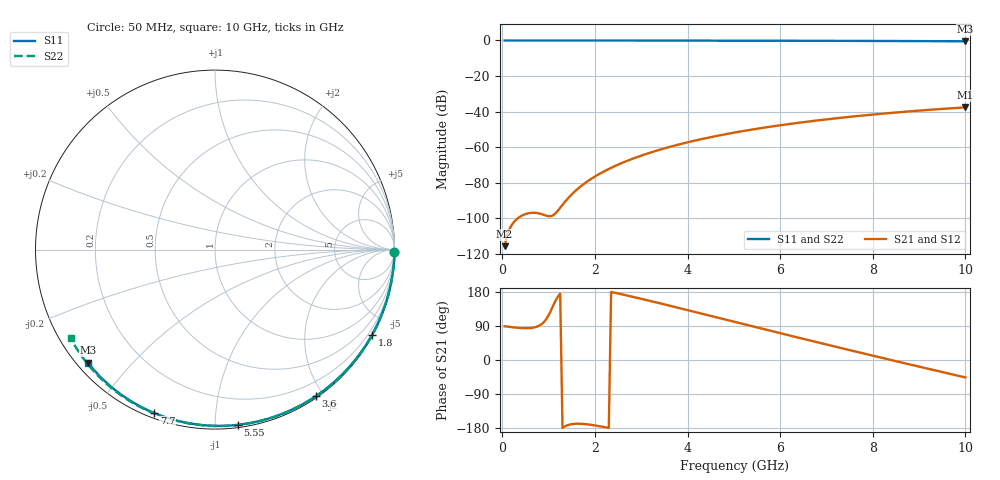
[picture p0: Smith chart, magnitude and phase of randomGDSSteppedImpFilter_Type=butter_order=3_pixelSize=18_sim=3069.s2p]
! freq	dB(S11)	phase(S11)	dB(S12)	phase(S12)
!  dB(S21)	phase(S21)	dB(S22)	phase(S22)
!S-par simulation data
#  GHz  S  DB  R 50
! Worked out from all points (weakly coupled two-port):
!   200 points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, 50 MHz to 10 GHz, reference 50 ohm
!   highest |S21| = -37.68 dB at 10 GHz (marker M1); lowest = -115.8 dB at 50 MHz (marker M2)
!   lowest |S11| = -0.5 dB at 10 GHz (marker M3), VSWR 37.21, Z = 1.54 - j19 ohm
!   |S11| at or under -10 dB: nowhere
!   |S22| runs from -0.5 to 0.0 dB; largest |S21 - S12| = 0
!   S11 on the Smith chart (normalised r, x): 50 MHz: open; 1.8 GHz: 0.03, -3.96; 3.6 GHz: 0.02, -1.90; 5.55 GHz: 0.02, -1.14; 7.7 GHz: 0.02, -0.70; 10 GHz: 0.03, -0.38
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0.05  -0.00 -0.8  -115.80 89.1  -115.80 89.1  -0.00 -0.9
0.45  -0.01 -7.2  -98.26 84.0  -98.26 84.0  -0.01 -7.8
0.9  -0.02 -14.3  -98.19 100.3  -98.19 100.3  -0.02 -15.4
1.3  -0.03 -20.6  -92.53 -179.2  -92.53 -179.2  -0.03 -22.2
1.75  -0.04 -27.6  -80.98 -168.8  -80.98 -168.8  -0.04 -29.7
1.8  -0.04 -28.4  -80.02 -169.3  -80.02 -169.3  -0.04 -30.6
1.95  -0.04 -30.7  -77.39 -171.6  -77.39 -171.6  -0.04 -33.0
2.15  -0.04 -33.8  -74.36 -175.8  -74.36 -175.8  -0.05 -36.3
2.5  -0.05 -39.1  -69.90 175.5  -69.90 175.5  -0.05 -42.1
2.9  -0.06 -45.1  -65.75 164.4  -65.75 164.4  -0.06 -48.5
3.4  -0.07 -52.5  -61.49 149.7  -61.49 149.7  -0.08 -56.4
3.6  -0.07 -55.4  -60.01 143.7  -60.01 143.7  -0.08 -59.6
3.9  -0.08 -59.8  -57.97 134.7  -57.97 134.7  -0.09 -64.2
4.3  -0.09 -65.5  -55.55 122.5  -55.55 122.5  -0.10 -70.3
5.05  -0.12 -75.9  -51.69 99.6  -51.69 99.6  -0.13 -81.4
5.55  -0.14 -82.7  -49.50 84.4  -49.50 84.4  -0.15 -88.7
6.1  -0.16 -90.0  -47.38 67.8  -47.38 67.8  -0.17 -96.4
6.7  -0.19 -97.7  -45.35 49.8  -45.35 49.8  -0.20 -104.7
7.7  -0.25 -110.4  -42.47 20.2  -42.47 20.2  -0.27 -118.2
8.35  -0.30 -118.4  -40.88 1.3  -40.88 1.3  -0.33 -126.9
9.2  -0.38 -128.7  -39.09 -23.3  -39.09 -23.3  -0.41 -138.0
10  -0.47 -138.3  -37.68 -46.1  -37.68 -46.1  -0.51 -148.5
